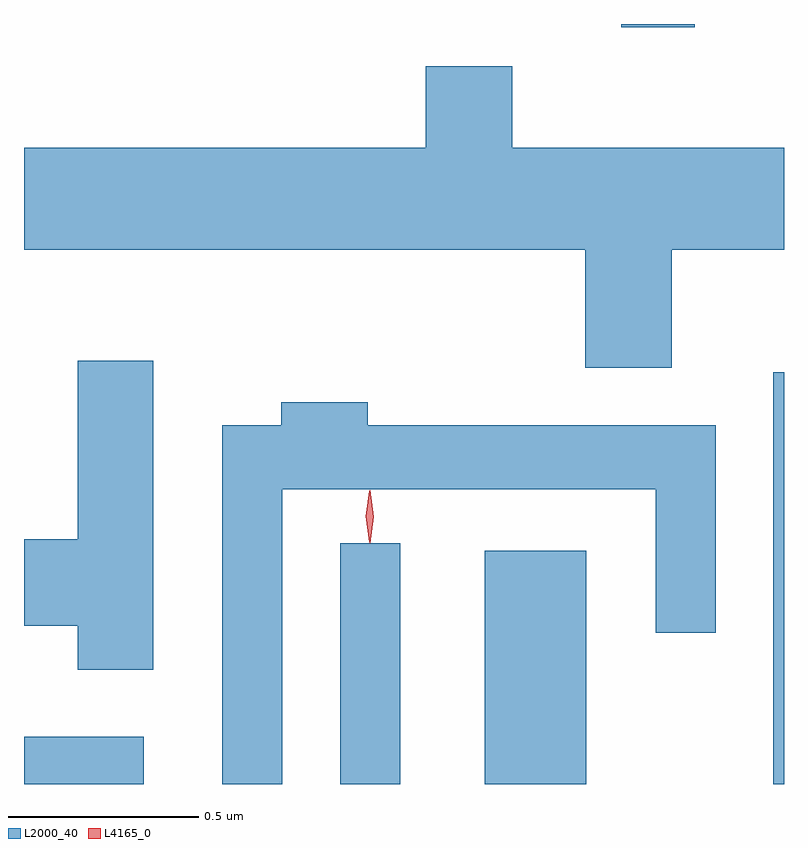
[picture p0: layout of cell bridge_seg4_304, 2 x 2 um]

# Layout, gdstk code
import gdstk
lib = gdstk.Library(unit=1e-6, precision=1e-09)
def R(c, l, rs):  # rectangles x0, y0, x1, y1
    for r in rs: c.add(gdstk.rectangle(r[:2], r[2:], *l))
def P(c, l, *ps):  # polygons
    for p in ps: c.add(gdstk.Polygon(p, *l))
L2000_40 = (2000, 40)
L4165_0 = (4165, 0)

bridge_seg4_304 = lib.new_cell('bridge_seg4_304')
R(bridge_seg4_304, L2000_40, [(520.774,1311.09,521.089,1311.214), (521.606,1311.09,521.764,1311.723), (521.986,1311.09,522.254,1311.704), (522.746,1311.09,522.774,1312.173), (522.346,1313.081,522.539,1313.09)])
P(bridge_seg4_304, L2000_40, [(522.479,1312.496),(522.774,1312.496),(522.774,1312.764),(522.059,1312.764),(522.059,1312.979),(521.831,1312.979),(521.831,1312.764),(520.774,1312.764),(520.774,1312.496),(522.251,1312.496),(522.251,1312.186),(522.479,1312.186)],
  [(521.114,1312.204),(520.916,1312.204),(520.916,1311.734),(520.774,1311.734),(520.774,1311.506),(520.916,1311.506),(520.916,1311.391),(521.114,1311.391)],
  [(521.454,1311.866),(522.436,1311.866),(522.436,1311.488),(522.594,1311.488),(522.594,1312.034),(521.679,1312.034),(521.679,1312.094),(521.451,1312.094),(521.451,1312.034),(521.296,1312.034),(521.296,1311.09),(521.454,1311.09)])
P(bridge_seg4_304, L4165_0, [(521.684,1311.724),(521.684,1311.724),(521.674,1311.793),(521.684,1311.863),(521.684,1311.863),(521.685,1311.863),(521.694,1311.793),(521.685,1311.724)],
  [(521.683,1311.727),(521.673,1311.794),(521.683,1311.86),(521.683,1311.86),(521.684,1311.86),(521.693,1311.794),(521.684,1311.727),(521.684,1311.727)])

lib.write_gds('bridge_seg4_304.gds')
